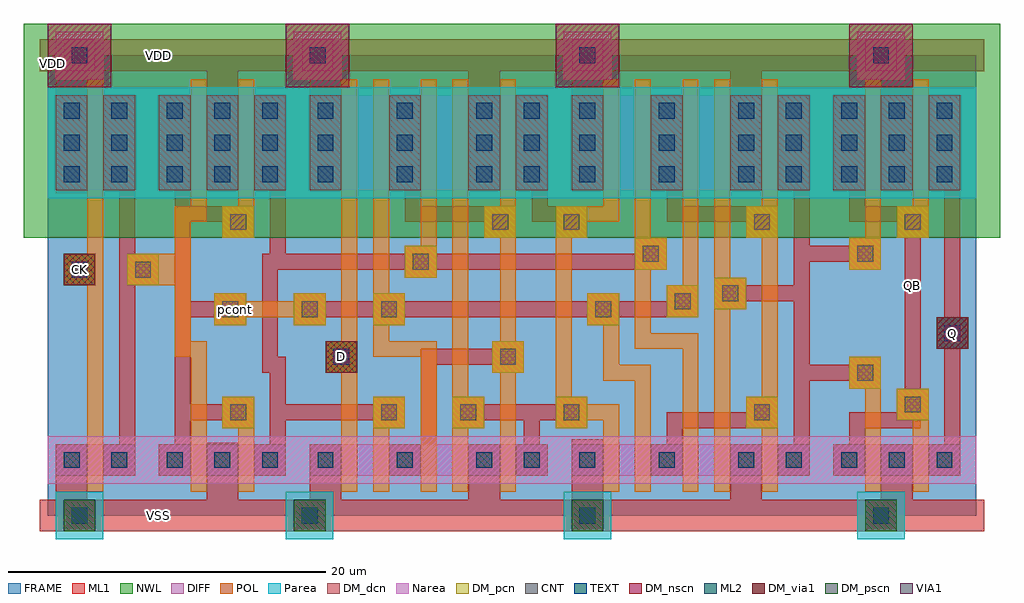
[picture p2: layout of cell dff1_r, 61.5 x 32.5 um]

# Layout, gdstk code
import gdstk
lib = gdstk.Library(unit=1e-6, precision=1e-09)
def R(c, l, rs):  # rectangles x0, y0, x1, y1
    for r in rs: c.add(gdstk.rectangle(r[:2], r[2:], *l))
NWL = (1, 0)
DIFF = (3, 0)
POL = (5, 0)
CNT = (7, 0)
ML1 = (8, 0)
VIA1 = (9, 0)
ML2 = (10, 0)
TEXT = (13, 0)
FRAME = (14, 0)
Parea = (18, 0)
Narea = (19, 0)
DM_dcn = (101, 0)
DM_pcn = (102, 0)
DM_nscn = (103, 0)
DM_pscn = (104, 0)
DM_via1 = (105, 0)

pcont = lib.new_cell('pcont')
R(pcont, POL, [(-1,-1,1,1)])
R(pcont, CNT, [(-0.5,-0.5,0.5,0.5)])
R(pcont, ML1, [(-1,-1,1,1)])
R(pcont, DM_pcn, [(-1,-1,1,1)])
pcont.add(gdstk.Label('pcont', (0,0), layer=13, texttype=0))

dcont = lib.new_cell('dcont')
R(dcont, DIFF, [(-1,-1,1,1)])
R(dcont, CNT, [(-0.5,-0.5,0.5,0.5)])
R(dcont, ML1, [(-1,-1,1,1)])
R(dcont, TEXT, [(-0.5,-0.5,0.5,0.5)])
R(dcont, DM_dcn, [(-1,-1,1,1)])
dcont.add(gdstk.Label('dcont', (0,0), layer=13, texttype=0))

nsubcont = lib.new_cell('nsubcont')
R(nsubcont, NWL, [(-2,-2,2,2)])
R(nsubcont, Narea, [(-1.5,-1.5,1.5,1.5)])
R(nsubcont, DM_nscn, [(-2,-2,2,2)])
nsubcont.add(gdstk.Reference(dcont, (0,0)))
nsubcont.add(gdstk.Label('NScont', (0,0), layer=13, texttype=0))

via = lib.new_cell('Via')
R(via, ML1, [(-1,-1,1,1)])
R(via, VIA1, [(-0.5,-0.5,0.5,0.5)])
R(via, ML2, [(-1,-1,1,1)])
R(via, TEXT, [(-0.5,-0.5,0.5,0.5)])
R(via, DM_via1, [(-1,-1,1,1)])
via.add(gdstk.Label('via', (0,0), layer=13, texttype=0))

psubcont = lib.new_cell('psubcont')
R(psubcont, Parea, [(-1.5,-1.5,1.5,1.5)])
R(psubcont, DM_pscn, [(-1,-1,1,1)])
psubcont.add(gdstk.Reference(dcont, (0,0)))
psubcont.add(gdstk.Label('PScon', (0,0), layer=13, texttype=0))

dff1_r = lib.new_cell('dff1_r')
R(dff1_r, NWL, [(-1.5,17.5,7.8,31), (5.3,17.5,60,31)])
R(dff1_r, DIFF, [(0.5,2.5,5.5,4.5), (7,2.5,15,4.5), (16.5,2.5,31.5,4.5), (33,2.5,48,4.5), (49.5,2.5,57.5,4.5), (0.5,20.5,5.5,26.5), (7,20.5,15,26.5), (16.5,20.5,31.5,26.5), (33,20.5,48,26.5), (49.5,20.5,57.5,26.5)])
R(dff1_r, POL, [(7,14.5,9,16.5)])
R(dff1_r, ML1, [(-0.5,-1,7,1), (6,-1,59,1), (21.5,2.5,24.5,4.5), (17.5,9,19.5,11), (56,10.5,58,12.5), (1,14.5,3,16.5), (-0.5,28,7,30), (6,28,59,30)])
R(dff1_r, ML2, [(17.5,9,19.5,11), (56,10.5,58,12.5), (1,14.5,3,16.5)])
R(dff1_r, FRAME, [(0,0,58.5,29)])
R(dff1_r, Parea, [(0,20,6.5,27), (6.5,20,58.5,27)])
R(dff1_r, Narea, [(0,2,6.5,5), (6.5,2,58.5,5)])
R(dff1_r, DM_via1, [(17.5,9,19.5,11), (56,10.5,58,12.5), (1,14.5,3,16.5)])
dff1_r.add(gdstk.FlexPath([(55,27),(55,18.9)], 1, ends="extended", simple_path=True, layer=5, datatype=0))  # POL
dff1_r.add(gdstk.FlexPath([(55,2),(55,6.7)], 1, ends="extended", simple_path=True, layer=5, datatype=0))  # POL
dff1_r.add(gdstk.FlexPath([(52,27),(52,17.2)], 1, ends="extended", simple_path=True, layer=5, datatype=0))  # POL
dff1_r.add(gdstk.FlexPath([(52,2),(52,9)], 1, ends="extended", simple_path=True, layer=5, datatype=0))  # POL
dff1_r.add(gdstk.FlexPath([(45.5,27),(45.5,2)], 1, ends="extended", simple_path=True, layer=5, datatype=0))  # POL
dff1_r.add(gdstk.FlexPath([(42.5,27),(42.5,2)], 1, ends="extended", simple_path=True, layer=5, datatype=0))  # POL
dff1_r.add(gdstk.FlexPath([(40.5,27),(40.5,13.5)], 1, ends="extended", simple_path=True, layer=5, datatype=0))  # POL
dff1_r.add(gdstk.FlexPath([(37.5,27),(37.5,11),(40.5,11),(40.5,2)], 1, ends="extended", simple_path=True, layer=5, datatype=0))  # POL
dff1_r.add(gdstk.FlexPath([(37.5,2),(37.5,9),(35.5,9),(35.5,13)], 1, ends="extended", simple_path=True, layer=5, datatype=0))  # POL
dff1_r.add(gdstk.FlexPath([(35.5,27),(35.5,19),(32.5,19),(32.5,6.5),(35.5,6.5),(35.5,2)], 1, ends="extended", simple_path=True, layer=5, datatype=0))  # POL
dff1_r.add(gdstk.FlexPath([(29,27),(29,2)], 1, ends="extended", simple_path=True, layer=5, datatype=0))  # POL
dff1_r.add(gdstk.FlexPath([(26,27),(26,2)], 1, ends="extended", simple_path=True, layer=5, datatype=0))  # POL
dff1_r.add(gdstk.FlexPath([(24,27),(24,16)], 1, ends="extended", simple_path=True, layer=5, datatype=0))  # POL
dff1_r.add(gdstk.FlexPath([(21,27),(21,10.5),(24,10.5),(24,2)], 1, ends="extended", simple_path=True, layer=5, datatype=0))  # POL
dff1_r.add(gdstk.FlexPath([(21,2),(21,6.4)], 1, ends="extended", simple_path=True, layer=5, datatype=0))  # POL
dff1_r.add(gdstk.FlexPath([(19,2),(19,27)], 1, ends="extended", simple_path=True, layer=5, datatype=0))  # POL
dff1_r.add(gdstk.FlexPath([(11.5,13),(16.5,13)], 1, ends="extended", simple_path=True, layer=5, datatype=0))  # POL
dff1_r.add(gdstk.FlexPath([(12.5,18.6),(12.5,27)], 1, ends="extended", simple_path=True, layer=5, datatype=0))  # POL
dff1_r.add(gdstk.FlexPath([(12.5,2),(12.5,6.8)], 1, ends="extended", simple_path=True, layer=5, datatype=0))  # POL
dff1_r.add(gdstk.FlexPath([(9.5,27),(9.5,19),(8.5,19),(8.5,10.5),(9.5,10.5),(9.5,2)], 1, ends="extended", simple_path=True, layer=5, datatype=0))  # POL
dff1_r.add(gdstk.FlexPath([(3,27),(3,2)], 1, ends="extended", simple_path=True, layer=5, datatype=0))  # POL
dff1_r.add(gdstk.FlexPath([(24,4),(24,10),(29,10)], 1, ends="extended", simple_path=True, layer=8, datatype=0))  # ML1
dff1_r.add(gdstk.FlexPath([(57,3.5),(57,26)], 1, ends="extended", simple_path=True, layer=8, datatype=0))  # ML1
dff1_r.add(gdstk.FlexPath([(56.5,22.3),(56.5,25.5)], 1.4, ends="extended", simple_path=True, layer=8, datatype=0))  # ML1
dff1_r.add(gdstk.FlexPath([(56.5,22.3),(56.5,25.5)], 1.4, ends="extended", simple_path=True, layer=8, datatype=0))  # ML1
dff1_r.add(gdstk.FlexPath([(53.5,21.8),(53.5,28.5)], 2, ends="extended", simple_path=True, layer=8, datatype=0))  # ML1
dff1_r.add(gdstk.FlexPath([(53.5,3.5),(53.5,1.5)], 2, ends="extended", simple_path=True, layer=8, datatype=0))  # ML1
dff1_r.add(gdstk.FlexPath([(51,3.8),(51,6),(54.5,6),(54.5,19),(51,19),(51,21.8)], 1, ends="extended", simple_path=True, layer=8, datatype=0))  # ML1
dff1_r.add(gdstk.FlexPath([(50.5,22.3),(50.5,25.5)], 1.4, ends="extended", simple_path=True, layer=8, datatype=0))  # ML1
dff1_r.add(gdstk.FlexPath([(51.5,16.5),(47.5,16.5)], 1, ends="extended", simple_path=True, layer=8, datatype=0))  # ML1
dff1_r.add(gdstk.FlexPath([(51.5,9),(47.5,9)], 1, ends="extended", simple_path=True, layer=8, datatype=0))  # ML1
dff1_r.add(gdstk.FlexPath([(47.5,25.8),(47.5,3.5)], 1, ends="extended", simple_path=True, layer=8, datatype=0))  # ML1
dff1_r.add(gdstk.FlexPath([(47,22.3),(47,25.5)], 1.4, ends="extended", simple_path=True, layer=8, datatype=0))  # ML1
dff1_r.add(gdstk.FlexPath([(43,14),(47.5,14)], 1, ends="extended", simple_path=True, layer=8, datatype=0))  # ML1
dff1_r.add(gdstk.FlexPath([(44,21.8),(44,28.5)], 2, ends="extended", simple_path=True, layer=8, datatype=0))  # ML1
dff1_r.add(gdstk.FlexPath([(44,3.5),(44,1.2)], 2, ends="extended", simple_path=True, layer=8, datatype=0))  # ML1
dff1_r.add(gdstk.FlexPath([(39.5,3.8),(39.5,6),(44.9,6)], 1, ends="extended", simple_path=True, layer=8, datatype=0))  # ML1
dff1_r.add(gdstk.FlexPath([(45.3,19),(39.5,19),(39.5,21.8)], 1, ends="extended", simple_path=True, layer=8, datatype=0))  # ML1
dff1_r.add(gdstk.FlexPath([(39,22.3),(39,25.5)], 1.4, ends="extended", simple_path=True, layer=8, datatype=0))  # ML1
dff1_r.add(gdstk.FlexPath([(34,21.8),(34,28.5)], 2, ends="extended", simple_path=True, layer=8, datatype=0))  # ML1
dff1_r.add(gdstk.FlexPath([(34,3.8),(34,1.5)], 2, ends="extended", simple_path=True, layer=8, datatype=0))  # ML1
dff1_r.add(gdstk.FlexPath([(33.3,19),(31,19),(31,21.8),(30.8,21.8)], 1, ends="extended", simple_path=True, layer=8, datatype=0))  # ML1
dff1_r.add(gdstk.FlexPath([(30.5,22.3),(30.5,25.5)], 1.4, ends="extended", simple_path=True, layer=8, datatype=0))  # ML1
dff1_r.add(gdstk.FlexPath([(30.5,6.5),(30.5,3.5)], 1, ends="extended", simple_path=True, layer=8, datatype=0))  # ML1
dff1_r.add(gdstk.FlexPath([(26.5,6.5),(33,6.5)], 1, ends="extended", simple_path=True, layer=8, datatype=0))  # ML1
dff1_r.add(gdstk.FlexPath([(16.5,13),(40.4,13)], 1, ends="extended", simple_path=True, layer=8, datatype=0))  # ML1
dff1_r.add(gdstk.FlexPath([(27.5,21.8),(27.5,28.5)], 2, ends="extended", simple_path=True, layer=8, datatype=0))  # ML1
dff1_r.add(gdstk.FlexPath([(27.5,3.5),(27.5,1.5)], 2, ends="extended", simple_path=True, layer=8, datatype=0))  # ML1
dff1_r.add(gdstk.FlexPath([(14.5,3.6),(14.5,9.5),(14,9.5),(14,16),(37.5,16)], 1, ends="extended", simple_path=True, layer=8, datatype=0))  # ML1
dff1_r.add(gdstk.FlexPath([(23,21.5),(23,19),(28.5,19)], 1, ends="extended", simple_path=True, layer=8, datatype=0))  # ML1
dff1_r.add(gdstk.FlexPath([(22.5,22.3),(22.5,25.5)], 1.4, ends="extended", simple_path=True, layer=8, datatype=0))  # ML1
dff1_r.add(gdstk.FlexPath([(21.5,6.5),(14.5,6.5)], 1, ends="extended", simple_path=True, layer=8, datatype=0))  # ML1
dff1_r.add(gdstk.FlexPath([(17.5,21.8),(17.5,28.5)], 2, ends="extended", simple_path=True, layer=8, datatype=0))  # ML1
dff1_r.add(gdstk.FlexPath([(17.5,3.5),(17.5,1.5)], 2, ends="extended", simple_path=True, layer=8, datatype=0))  # ML1
dff1_r.add(gdstk.FlexPath([(14.5,25.8),(14.5,16)], 1, ends="extended", simple_path=True, layer=8, datatype=0))  # ML1
dff1_r.add(gdstk.FlexPath([(14,22.3),(14,25.5)], 1.4, ends="extended", simple_path=True, layer=8, datatype=0))  # ML1
dff1_r.add(gdstk.FlexPath([(11,21.8),(11,28.5)], 2, ends="extended", simple_path=True, layer=8, datatype=0))  # ML1
dff1_r.add(gdstk.FlexPath([(11,3.6),(11,1.5)], 2, ends="extended", simple_path=True, layer=8, datatype=0))  # ML1
dff1_r.add(gdstk.FlexPath([(12.3,6.5),(8.5,6.5)], 1, ends="extended", simple_path=True, layer=8, datatype=0))  # ML1
dff1_r.add(gdstk.FlexPath([(12,19),(8.5,19)], 1, ends="extended", simple_path=True, layer=8, datatype=0))  # ML1
dff1_r.add(gdstk.FlexPath([(11.5,13),(8.5,13)], 1, ends="extended", simple_path=True, layer=8, datatype=0))  # ML1
dff1_r.add(gdstk.FlexPath([(8.5,3.5),(8.5,21.4)], 1, ends="extended", simple_path=True, layer=8, datatype=0))  # ML1
dff1_r.add(gdstk.FlexPath([(8,22.3),(8,25.5)], 1.4, ends="extended", simple_path=True, layer=8, datatype=0))  # ML1
dff1_r.add(gdstk.FlexPath([(5,20.5),(5,3.8)], 1, ends="extended", simple_path=True, layer=8, datatype=0))  # ML1
dff1_r.add(gdstk.FlexPath([(4.5,22.3),(4.5,25.5)], 1.4, ends="extended", simple_path=True, layer=8, datatype=0))  # ML1
dff1_r.add(gdstk.FlexPath([(1.5,1),(1.5,3.5)], 2, ends="extended", simple_path=True, layer=8, datatype=0))  # ML1
dff1_r.add(gdstk.FlexPath([(1.5,21.3),(1.5,28.5)], 2, ends="extended", simple_path=True, layer=8, datatype=0))  # ML1
dff1_r.add(gdstk.Reference(pcont, (6,15.5)))
dff1_r.add(gdstk.Reference(dcont, (47,25.5)))
dff1_r.add(gdstk.Reference(pcont, (12,6.5)))
dff1_r.add(gdstk.Reference(dcont, (8,25.5)))
dff1_r.add(gdstk.Reference(nsubcont, (52.5,29)))
dff1_r.add(gdstk.Reference(pcont, (33,18.5)))
dff1_r.add(gdstk.Reference(via, (18.5,10)))
dff1_r.add(gdstk.Reference(dcont, (47,3.5)))
dff1_r.add(gdstk.Reference(pcont, (54.5,18.5)))
dff1_r.add(gdstk.Reference(dcont, (11,21.5)))
dff1_r.add(gdstk.Reference(pcont, (11.5,13)))
dff1_r.add(gdstk.Reference(dcont, (56.5,23.5)))
dff1_r.add(gdstk.Reference(dcont, (8,23.5)))
dff1_r.add(gdstk.Reference(dcont, (30.5,23.5)))
dff1_r.add(gdstk.Reference(psubcont, (52.5,0)))
dff1_r.add(gdstk.Reference(dcont, (44,23.5)))
dff1_r.add(gdstk.Reference(dcont, (53.5,21.5)))
dff1_r.add(gdstk.Reference(dcont, (39,23.5)))
dff1_r.add(gdstk.Reference(via, (57,11.5)))
dff1_r.add(gdstk.Reference(dcont, (50.5,25.5)))
dff1_r.add(gdstk.Reference(dcont, (47,21.5)))
dff1_r.add(gdstk.Reference(pcont, (35,13)))
dff1_r.add(gdstk.Reference(dcont, (53.5,23.5)))
dff1_r.add(gdstk.Reference(dcont, (56.5,3.5)))
dff1_r.add(gdstk.Reference(dcont, (11,25.5)))
dff1_r.add(gdstk.Reference(dcont, (50.5,3.5)))
dff1_r.add(gdstk.Reference(dcont, (8,21.5)))
dff1_r.add(gdstk.Reference(pcont, (18.5,10)))
dff1_r.add(gdstk.Reference(pcont, (51.5,16.5)))
dff1_r.add(gdstk.Reference(dcont, (30.5,25.5)))
dff1_r.add(gdstk.Reference(psubcont, (34,0)))
dff1_r.add(gdstk.Reference(dcont, (17.5,21.5)))
dff1_r.add(gdstk.Reference(dcont, (30.5,3.5)))
dff1_r.add(gdstk.Reference(pcont, (16.5,13)))
dff1_r.add(gdstk.Reference(pcont, (51.5,9)))
dff1_r.add(gdstk.Reference(pcont, (38,16.5)))
dff1_r.add(gdstk.Reference(dcont, (22.5,21.5)))
dff1_r.add(gdstk.Reference(nsubcont, (17,29)))
dff1_r.add(gdstk.Reference(dcont, (27.5,25.5)))
dff1_r.add(gdstk.Reference(dcont, (56.5,21.5)))
dff1_r.add(gdstk.Reference(pcont, (28.5,18.5)))
dff1_r.add(gdstk.Reference(dcont, (56.5,25.5)))
dff1_r.add(gdstk.Reference(dcont, (17.5,25.5)))
dff1_r.add(gdstk.Reference(dcont, (17.5,3.5)))
dff1_r.add(gdstk.Reference(dcont, (44,21.5)))
dff1_r.add(gdstk.Reference(pcont, (23.5,16)))
dff1_r.add(gdstk.Reference(dcont, (39,21.5)))
dff1_r.add(gdstk.Reference(dcont, (30.5,21.5)))
dff1_r.add(gdstk.Reference(dcont, (47,23.5)))
dff1_r.add(gdstk.Reference(dcont, (34,3.5)))
dff1_r.add(gdstk.Reference(dcont, (50.5,23.5)))
dff1_r.add(gdstk.Reference(pcont, (33,6.5)))
dff1_r.add(gdstk.Reference(dcont, (34,23.5)))
dff1_r.add(gdstk.Reference(dcont, (14,21.5)))
dff1_r.add(gdstk.Reference(pcont, (43,14)))
dff1_r.add(gdstk.Reference(pcont, (21.5,6.5)))
dff1_r.add(gdstk.Reference(dcont, (11,3.5)))
dff1_r.add(gdstk.Reference(dcont, (44,3.5)))
dff1_r.add(gdstk.Reference(dcont, (27.5,3.5)))
dff1_r.add(gdstk.Reference(dcont, (22.5,3.5)))
dff1_r.add(gdstk.Reference(dcont, (27.5,21.5)))
dff1_r.add(gdstk.Reference(dcont, (8,3.5)))
dff1_r.add(gdstk.Reference(dcont, (11,23.5)))
dff1_r.add(gdstk.Reference(dcont, (27.5,23.5)))
dff1_r.add(gdstk.Reference(dcont, (44,25.5)))
dff1_r.add(gdstk.Reference(dcont, (34,21.5)))
dff1_r.add(gdstk.Reference(dcont, (39,25.5)))
dff1_r.add(gdstk.Reference(pcont, (26.5,6.5)))
dff1_r.add(gdstk.Reference(dcont, (53.5,25.5)))
dff1_r.add(gdstk.Reference(dcont, (22.5,23.5)))
dff1_r.add(gdstk.Reference(pcont, (45,6.5)))
dff1_r.add(gdstk.Reference(dcont, (17.5,23.5)))
dff1_r.add(gdstk.Reference(pcont, (21.5,13)))
dff1_r.add(gdstk.Reference(dcont, (34,25.5)))
dff1_r.add(gdstk.Reference(pcont, (12,18.5)))
dff1_r.add(gdstk.Reference(psubcont, (16.5,0)))
dff1_r.add(gdstk.Reference(dcont, (50.5,21.5)))
dff1_r.add(gdstk.Reference(pcont, (29,10)))
dff1_r.add(gdstk.Reference(pcont, (45,18.5)))
dff1_r.add(gdstk.Reference(pcont, (40,13.5)))
dff1_r.add(gdstk.Reference(dcont, (14,3.5)))
dff1_r.add(gdstk.Reference(dcont, (22.5,25.5)))
dff1_r.add(gdstk.Reference(dcont, (14,23.5)))
dff1_r.add(gdstk.Reference(dcont, (39,3.5)))
dff1_r.add(gdstk.Reference(pcont, (54.5,7)))
dff1_r.add(gdstk.Reference(nsubcont, (34,29)))
dff1_r.add(gdstk.Reference(dcont, (14,25.5)))
dff1_r.add(gdstk.Reference(dcont, (53.5,3.5)))
dff1_r.add(gdstk.Reference(pcont, (2,15.5)))
dff1_r.add(gdstk.Reference(dcont, (4.5,21.5)))
dff1_r.add(gdstk.Reference(nsubcont, (2,29)))
dff1_r.add(gdstk.Reference(dcont, (1.5,21.5)))
dff1_r.add(gdstk.Reference(via, (2,15.5)))
dff1_r.add(gdstk.Reference(dcont, (4.5,3.5)))
dff1_r.add(gdstk.Reference(dcont, (1.5,3.5)))
dff1_r.add(gdstk.Reference(dcont, (1.5,23.5)))
dff1_r.add(gdstk.Reference(psubcont, (2,0)))
dff1_r.add(gdstk.Reference(dcont, (4.5,25.5)))
dff1_r.add(gdstk.Reference(dcont, (1.5,25.5)))
dff1_r.add(gdstk.Reference(dcont, (4.5,23.5)))
dff1_r.add(gdstk.Label('VSS', (7,0), layer=8, texttype=0))
dff1_r.add(gdstk.Label('VDD', (7,29), layer=8, texttype=0))
dff1_r.add(gdstk.Label('VDD', (0.3,28.5), layer=8, texttype=0))
dff1_r.add(gdstk.Label('QB', (54.5,14.5), layer=8, texttype=0))
dff1_r.add(gdstk.Label('CK', (2,15.5), layer=10, texttype=0))
dff1_r.add(gdstk.Label('D', (18.5,10), layer=10, texttype=0))
dff1_r.add(gdstk.Label('Q', (57,11.5), layer=10, texttype=0))
dff1_r.add(gdstk.Label('A', (1.5,16), layer=10, texttype=0))
dff1_r.add(gdstk.Label('via', (57,11.5), layer=13, texttype=0))
dff1_r.add(gdstk.Label('via', (18.5,10), layer=13, texttype=0))
dff1_r.add(gdstk.Label('via', (18.5,10), layer=13, texttype=0))
dff1_r.add(gdstk.Label('pcont', (11.8,13), layer=13, texttype=0))
dff1_r.add(gdstk.Label('via', (2,15.5), layer=13, texttype=0))

lib.write_gds('dff1_r.gds')
